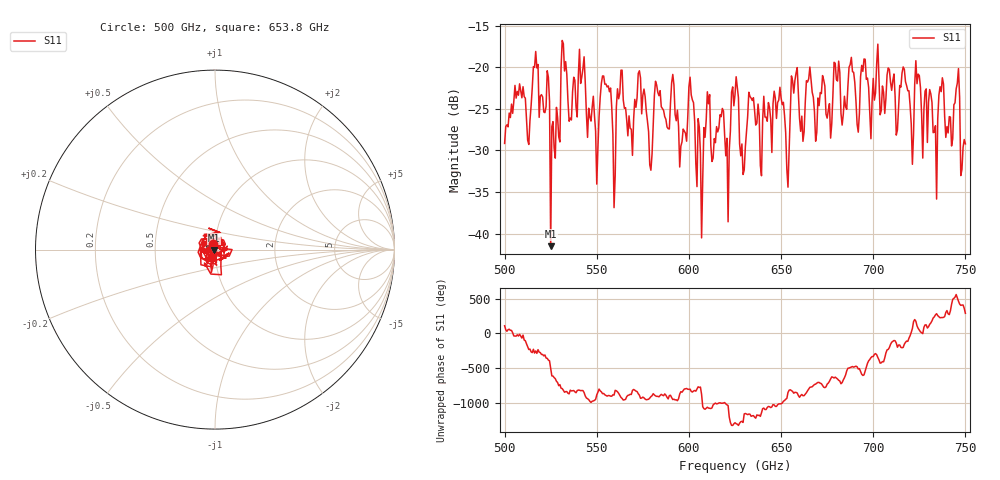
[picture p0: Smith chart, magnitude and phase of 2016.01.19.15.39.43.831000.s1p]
!Created with skrf (http://scikit-rf.org).
# GHz S RI R 50.0
!freq ReS11 ImS11
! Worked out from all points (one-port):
!   401 points, 500 GHz to 750 GHz, reference 50 ohm
!   lowest |S11| = -41.5 dB at 525 GHz (marker M1), VSWR 1.02, Z = 49.3 - j0.466 ohm
!   |S11| at or under -10 dB: start of sweep to end of sweep
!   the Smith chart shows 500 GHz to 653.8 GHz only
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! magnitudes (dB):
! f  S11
! 500 GHz  -29.2
! 513.1 GHz  -29.3
! 516.9 GHz  -18.1
! 525 GHz  -41.5
! 531.2 GHz  -16.8
! 541.9 GHz  -21.2
! 550 GHz  -34.1
! 554.4 GHz  -22.1
! 559.4 GHz  -36.9
! 562.5 GHz  -23.1
! 593.8 GHz  -25.2
! 601.2 GHz  -23.3
! 605.6 GHz  -27.2
! 610 GHz  -23.0
! 620.6 GHz  -28.6
! 625 GHz  -23.3
! 629.4 GHz  -32.9
! 633.8 GHz  -23.7
! 653.8 GHz  -34.4
! 656.2 GHz  -21.6
! 661.2 GHz  -25.9
! 665 GHz  -21.4
! 676.2 GHz  -24.4
! 687.5 GHz  -19.7
! 718.8 GHz  -22.8
! 733.8 GHz  -27.0
! 745.6 GHz  -21.9
! 750 GHz  -29.2
